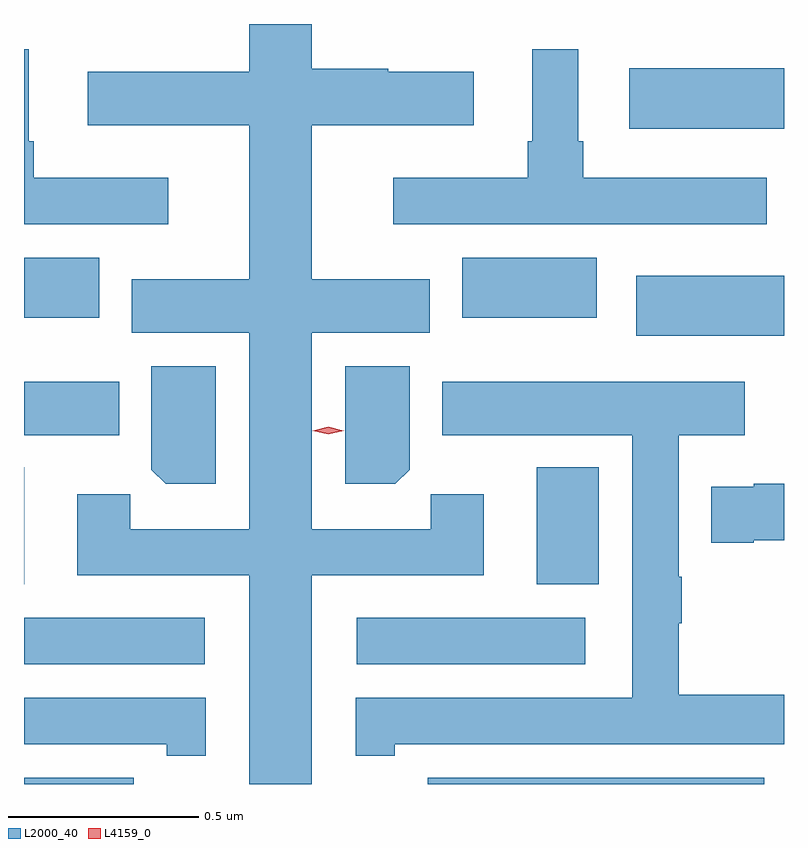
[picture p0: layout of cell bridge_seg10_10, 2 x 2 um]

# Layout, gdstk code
import gdstk
lib = gdstk.Library(unit=1e-6, precision=1e-09)
def R(c, l, rs):  # rectangles x0, y0, x1, y1
    for r in rs: c.add(gdstk.rectangle(r[:2], r[2:], *l))
def P(c, l, *ps):  # polygons
    for p in ps: c.add(gdstk.Polygon(p, *l))
L2000_40 = (2000, 40)
L4159_0 = (4159, 0)

bridge_seg10_10 = lib.new_cell('bridge_seg10_10')
R(bridge_seg10_10, L2000_40, [(1060.395,1325.105,1060.684,1325.122), (1061.457,1325.105,1062.343,1325.122), (1060.395,1325.42,1060.87,1325.542), (1061.271,1325.42,1061.872,1325.542), (1060.395,1325.631,1060.396,1325.938), (1061.744,1325.631,1061.908,1325.938), (1060.395,1326.023,1060.645,1326.163), (1062.006,1326.284,1062.395,1326.442), (1060.395,1326.332,1060.593,1326.49), (1061.548,1326.332,1061.902,1326.49), (1061.988,1326.83,1062.395,1326.988)])
P(bridge_seg10_10, L2000_40, [(1061.152,1325.654),(1061.605,1325.654),(1061.605,1325.868),(1061.466,1325.868),(1061.466,1325.776),(1061.152,1325.776),(1061.152,1326.293),(1061.463,1326.293),(1061.463,1326.433),(1061.152,1326.433),(1061.152,1326.839),(1061.578,1326.839),(1061.578,1326.979),(1061.354,1326.979),(1061.354,1326.987),(1061.152,1326.987),(1061.152,1327.105),(1060.988,1327.105),(1060.988,1326.979),(1060.563,1326.979),(1060.563,1326.839),(1060.988,1326.839),(1060.988,1326.433),(1060.678,1326.433),(1060.678,1326.293),(1060.988,1326.293),(1060.988,1325.776),(1060.674,1325.776),(1060.674,1325.868),(1060.535,1325.868),(1060.535,1325.654),(1060.988,1325.654),(1060.988,1325.105),(1061.152,1325.105)],
  [(1062.349,1326.7),(1061.867,1326.7),(1061.867,1326.796),(1061.854,1326.796),(1061.854,1327.039),(1061.732,1327.039),(1061.732,1326.796),(1061.72,1326.796),(1061.72,1326.7),(1061.367,1326.7),(1061.367,1326.578),(1062.349,1326.578)],
  [(1060.774,1326.7),(1060.421,1326.7),(1060.421,1326.796),(1060.408,1326.796),(1060.408,1327.039),(1060.395,1327.039),(1060.395,1326.578),(1060.774,1326.578)],
  [(1061.41,1325.932),(1061.41,1326.205),(1061.24,1326.205),(1061.24,1325.895),(1061.372,1325.895)],
  [(1060.9,1326.205),(1060.73,1326.205),(1060.73,1325.932),(1060.768,1325.895),(1060.9,1325.895)],
  [(1061.37,1325.21),(1062.395,1325.21),(1062.395,1325.34),(1062.118,1325.34),(1062.118,1325.528),(1062.126,1325.528),(1062.126,1325.651),(1062.118,1325.651),(1062.118,1326.023),(1062.292,1326.023),(1062.292,1326.163),(1061.495,1326.163),(1061.495,1326.023),(1061.996,1326.023),(1061.996,1325.332),(1061.268,1325.332),(1061.268,1325.18),(1061.37,1325.18)],
  [(1062.316,1325.747),(1062.395,1325.747),(1062.395,1325.895),(1062.316,1325.895),(1062.316,1325.887),(1062.204,1325.887),(1062.204,1325.74),(1062.316,1325.74)],
  [(1060.873,1325.332),(1060.395,1325.332),(1060.395,1325.21),(1060.77,1325.21),(1060.77,1325.18),(1060.873,1325.18)])
P(bridge_seg10_10, L4159_0, [(1061.196,1326.025),(1061.155,1326.034),(1061.155,1326.035),(1061.155,1326.035),(1061.196,1326.045),(1061.237,1326.035),(1061.237,1326.035),(1061.237,1326.034)])

lib.write_gds('bridge_seg10_10.gds')
